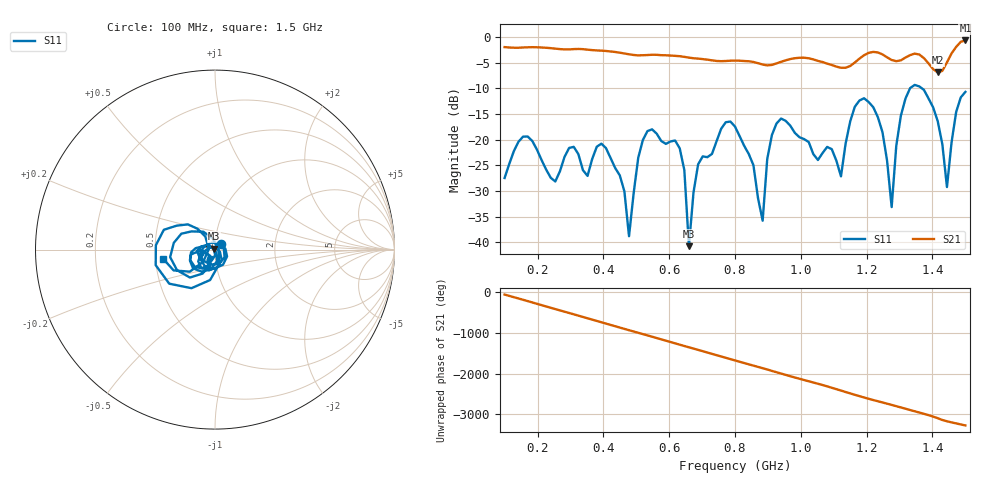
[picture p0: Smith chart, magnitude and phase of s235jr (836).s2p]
! NanoVNA-App
! Date: 2025-09-25 15:10:40
! Start: 100MHz Stop: 1,5GHz Points: 101
! S-Parameter data: F S11 S21 S12 S22
# Hz S RI R 50
!  Frequency  S11_Real  S11_Imag  S21_Real  S21_Imag  S12_Real  S12_Imag  S22_Real  S22_Imag
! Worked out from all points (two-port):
!   101 points, 100 MHz to 1.5 GHz, reference 50 ohm
!   highest |S21| = -0.67 dB at 1.5 GHz (marker M1); lowest = -6.9 dB at 1.416 GHz (marker M2)
!   |S21| within 3 dB of the highest: start of sweep to 618.4 MHz; 1.19 GHz to 1.255 GHz (65.49 MHz wide, 5.36 % of centre) (the widest 2 of 4)
!   lowest |S11| = -40.7 dB at 660 MHz (marker M3), VSWR 1.02, Z = 49.3 + j0.576 ohm
!   |S11| at or under -10 dB: start of sweep to 1.332 GHz; 1.368 GHz to end of sweep
!   S12 and S22 are empty: the file has one direction only
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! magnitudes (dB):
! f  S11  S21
! 100 MHz  -27.5  -2.0
! 156 MHz  -19.4  -2.0
! 338 MHz  -25.9  -2.4
! 408 MHz  -21.6  -2.7
! 478 MHz  -38.8  -3.4
! 520 MHz  -20.1  -3.5
! 576 MHz  -20.3  -3.5
! 632 MHz  -21.7  -3.7
! 660 MHz  -40.7  -4.0
! 688 MHz  -24.8  -4.2
! 800 MHz  -17.4  -4.6
! 884 MHz  -35.8  -5.4
! 926 MHz  -16.9  -5.1
! 1.038 GHz  -22.8  -4.4
! 1.122 GHz  -27.1  -6.0
! 1.192 GHz  -11.9  -3.6
! 1.248 GHz  -18.5  -3.4
! 1.276 GHz  -33.1  -4.5
! 1.332 GHz  -10.0  -3.5
! 1.416 GHz  -16.4  -6.9
! 1.444 GHz  -29.2  -4.9
! 1.5 GHz  -10.7  -0.7
